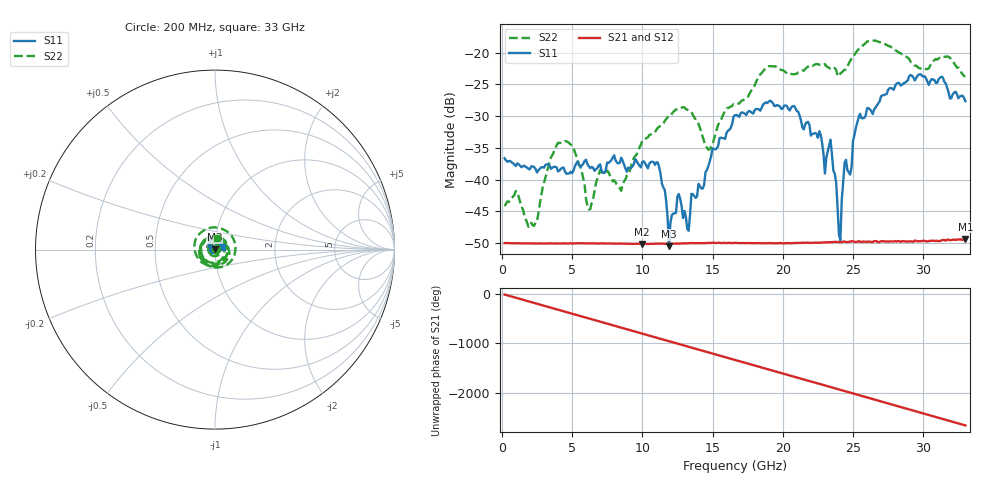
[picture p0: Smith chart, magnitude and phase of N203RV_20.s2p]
# GHZ S RI R 50
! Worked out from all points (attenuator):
!   329 points, 200 MHz to 33 GHz, reference 50 ohm
!   highest |S21| = -49.34 dB at 33 GHz (marker M1); lowest = -50.1 dB at 10 GHz (marker M2)
!   lowest |S11| = -50.5 dB at 11.9 GHz (marker M3), VSWR 1.01, Z = 49.8 + j0.247 ohm
!   |S11| at or under -10 dB: start of sweep to end of sweep
!   |S22| runs from -47.4 to -18.1 dB; largest |S21 - S12| = 7.2e-05
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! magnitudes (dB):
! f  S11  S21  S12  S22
! 200 MHz  -36.6  -50.0  -50.0  -44.2
! 2.3 GHz  -38.0  -50.0  -50.0  -47.3
! 4 GHz  -38.7  -50.0  -50.0  -34.2
! 5.7 GHz  -37.8  -50.0  -50.0  -38.8
! 6.3 GHz  -38.2  -50.0  -50.0  -44.6
! 10 GHz  -37.2  -50.1  -50.1  -33.9
! 11.2 GHz  -38.0  -50.1  -50.1  -31.7
! 11.9 GHz  -50.5  -50.1  -50.0  -29.9
! 12.5 GHz  -42.6  -50.0  -50.0  -28.9
! 13.3 GHz  -48.0  -50.0  -50.0  -29.1
! 13.5 GHz  -42.2  -50.0  -50.0  -29.3
! 14.7 GHz  -37.9  -49.9  -49.9  -35.3
! 16.6 GHz  -29.8  -49.9  -49.9  -28.1
! 22.1 GHz  -32.8  -49.9  -49.9  -22.1
! 23 GHz  -39.0  -49.9  -49.8  -21.8
! 23.4 GHz  -33.7  -49.8  -49.8  -22.6
! 24.1 GHz  -49.5  -49.9  -49.8  -23.2
! 24.4 GHz  -37.4  -49.7  -49.7  -22.7
! 24.8 GHz  -39.2  -49.8  -49.7  -21.3
! 25.4 GHz  -30.2  -49.7  -49.7  -19.4
! 27.6 GHz  -25.6  -49.7  -49.7  -19.0
! 33 GHz  -27.6  -49.3  -49.3  -23.7
